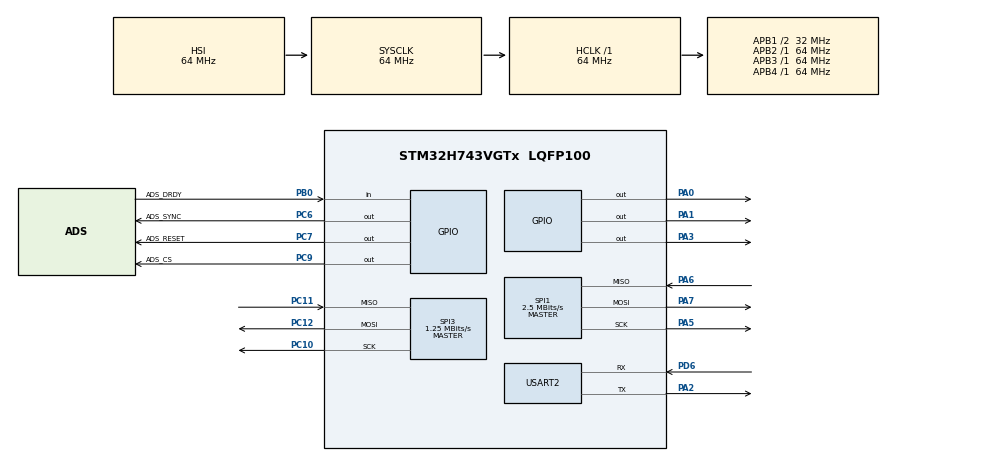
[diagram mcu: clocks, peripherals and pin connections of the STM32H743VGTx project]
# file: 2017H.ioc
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CORTEX_M7.default_mode_Activation=1
Mcu.Family=STM32H7
Mcu.Name=STM32H743VGTx
Mcu.Package=LQFP100
NVIC.PriorityGroup=NVIC_PRIORITYGROUP_4
NVIC.USART2_IRQn=true\:5\:0\:false\:false\:true\:true\:true\:true
PA0.PinState=GPIO_PIN_RESET
PA0.Signal=GPIO_Output
PA1.PinState=GPIO_PIN_SET
PA1.Signal=GPIO_Output
PA13\ (JTMS/SWDIO).Mode=Serial_Wire
PA13\ (JTMS/SWDIO).Signal=DEBUG_JTMS-SWDIO
PA14\ (JTCK/SWCLK).Mode=Serial_Wire
PA14\ (JTCK/SWCLK).Signal=DEBUG_JTCK-SWCLK
PA2.Mode=Asynchronous
PA2.Signal=USART2_TX
PA3.PinState=GPIO_PIN_RESET
PA3.Signal=GPIO_Output
PA5.Mode=Full_Duplex_Master
PA5.Signal=SPI1_SCK
PA6.Mode=Full_Duplex_Master
PA6.Signal=SPI1_MISO
PA7.Mode=Full_Duplex_Master
PA7.Signal=SPI1_MOSI
PB0.GPIO_Label=ADS_DRDY
PB0.GPIO_PuPd=GPIO_PULLUP
PB0.Signal=GPIO_Input
PC10.Mode=Full_Duplex_Master
PC10.Signal=SPI3_SCK
PC11.Mode=Full_Duplex_Master
PC11.Signal=SPI3_MISO
PC12.Mode=Full_Duplex_Master
PC12.Signal=SPI3_MOSI
PC7.GPIO_Label=ADS_RESET
PC7.PinState=GPIO_PIN_SET
PC7.Signal=GPIO_Output
PC6.GPIO_Label=ADS_SYNC
PC6.PinState=GPIO_PIN_SET
PC6.Signal=GPIO_Output
PC9.GPIO_Label=ADS_CS
PC9.PinState=GPIO_PIN_SET
PC9.Signal=GPIO_Output
PD6.Mode=Asynchronous
PD6.Signal=USART2_RX
ProjectManager.HeapSize=0x200
ProjectManager.StackSize=0x400
ProjectManager.TargetToolchain=CMake
RCC.ADCFreq_Value=129000000
RCC.APB1Freq_Value=32000000
RCC.APB2Freq_Value=64000000
RCC.APB3Freq_Value=64000000
RCC.APB4Freq_Value=64000000
RCC.CortexFreq_Value=64000000
RCC.D2PPRE1=RCC_APB1_DIV2
RCC.DIVM1=4
RCC.DIVN1=10
RCC.HCLKFreq_Value=64000000
RCC.PLLFRACN=0
RCC.SYSCLKFreq_VALUE=64000000
RCC.USBFreq_Value=80000000
SPI1.BaudRatePrescaler=SPI_BAUDRATEPRESCALER_32
SPI1.CalculateBaudRate=2.5 MBits/s
SPI1.DataSize=SPI_DATASIZE_8BIT
SPI1.Direction=SPI_DIRECTION_2LINES
SPI1.MasterKeepIOState=SPI_MASTER_KEEP_IO_STATE_ENABLE
SPI1.Mode=SPI_MODE_MASTER
SPI1.NSSPMode=SPI_NSS_PULSE_DISABLE
SPI1.VirtualType=VM_MASTER
SPI3.BaudRatePrescaler=SPI_BAUDRATEPRESCALER_64
SPI3.CLKPhase=SPI_PHASE_2EDGE
SPI3.CalculateBaudRate=1.25 MBits/s
SPI3.DataSize=SPI_DATASIZE_8BIT
SPI3.Direction=SPI_DIRECTION_2LINES
SPI3.MasterKeepIOState=SPI_MASTER_KEEP_IO_STATE_ENABLE
SPI3.Mode=SPI_MODE_MASTER
SPI3.NSSPMode=SPI_NSS_PULSE_DISABLE
SPI3.VirtualType=VM_MASTER
USART2.VirtualMode-Asynchronous=VM_ASYNC
VP_MEMORYMAP_VS_MEMORYMAP.Mode=CurAppReg
board=custom

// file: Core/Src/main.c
/* USER CODE BEGIN Header */
/**
  ******************************************************************************
  * @file           : main.c
  * @brief          : Main program body
  ******************************************************************************
  * @attention
  *
  * Copyright (c) 2026 STMicroelectronics.
  * All rights reserved.
  *
  * This software is licensed under terms that can be found in the LICENSE file
  * in the root directory of this software component.
  * If no LICENSE file comes with this software, it is provided AS-IS.
  *
  ******************************************************************************
  */
/* USER CODE END Header */
#include "main.h"

/* USER CODE BEGIN Includes */
#include "dds_console.h"
#include "adc_console.h"
#ifdef ENABLE_DRDY_DIAG
#include "drdy_diag.h"
#endif
#ifdef ENABLE_AUTO_SWEEP
#include "auto_sweep.h"
#endif

/* USER CODE END Includes */

SPI_HandleTypeDef hspi1;
SPI_HandleTypeDef hspi3;

UART_HandleTypeDef huart2;

void SystemClock_Config(void);
static void MPU_Config(void);
static void MX_GPIO_Init(void);
static void MX_SPI1_Init(void);
static void MX_SPI3_Init(void);
static void MX_USART2_UART_Init(void);

int main(void)
{

  /* MPU Configuration--------------------------------------------------------*/
  MPU_Config();

  /* MCU Configuration--------------------------------------------------------*/

  /* Reset of all peripherals, Initializes the Flash interface and the Systick. */
  HAL_Init();

  /* Configure the system clock */
  SystemClock_Config();

  /* Initialize all configured peripherals */
  MX_GPIO_Init();
  MX_SPI1_Init();
  MX_SPI3_Init();
  MX_USART2_UART_Init();
  /* USER CODE BEGIN 2 */
#ifdef ENABLE_AUTO_SWEEP
  AutoSweep_Run(&hspi1, &hspi3);
#else
  DDS_Console_Init(&hspi1, &huart2);
  ADC_Console_Init(&hspi3, &huart2);
#endif
#ifdef ENABLE_DRDY_DIAG
  DRDY_Diag_Start();
#endif
  /* USER CODE END 2 */

  /* Infinite loop */
  while (1)
  {

    /* USER CODE BEGIN 3 */
#ifdef ENABLE_AUTO_SWEEP
    __NOP();
#else
    DDS_Console_Process();
    ADC_Console_Process();
#endif
  }
  /* USER CODE END 3 */
}

void SystemClock_Config(void)
{
  RCC_OscInitTypeDef RCC_OscInitStruct = {0};
  RCC_ClkInitTypeDef RCC_ClkInitStruct = {0};

  /** Supply configuration update enable
  */
  HAL_PWREx_ConfigSupply(PWR_LDO_SUPPLY);

  /** Configure the main internal regulator output voltage
  */
  __HAL_PWR_VOLTAGESCALING_CONFIG(PWR_REGULATOR_VOLTAGE_SCALE3);

  while(!__HAL_PWR_GET_FLAG(PWR_FLAG_VOSRDY)) {}

  /** Initializes the RCC Oscillators according to the specified parameters
  * in the RCC_OscInitTypeDef structure.
  */
  RCC_OscInitStruct.OscillatorType = RCC_OSCILLATORTYPE_HSI;
  RCC_OscInitStruct.HSIState = RCC_HSI_DIV1;
  RCC_OscInitStruct.HSICalibrationValue = RCC_HSICALIBRATION_DEFAULT;
  RCC_OscInitStruct.PLL.PLLState = RCC_PLL_ON;
  RCC_OscInitStruct.PLL.PLLSource = RCC_PLLSOURCE_HSI;
  RCC_OscInitStruct.PLL.PLLM = 4;
  RCC_OscInitStruct.PLL.PLLN = 10;
  RCC_OscInitStruct.PLL.PLLP = 2;
  RCC_OscInitStruct.PLL.PLLQ = 2;
  RCC_OscInitStruct.PLL.PLLR = 2;
  RCC_OscInitStruct.PLL.PLLRGE = RCC_PLL1VCIRANGE_3;
  RCC_OscInitStruct.PLL.PLLVCOSEL = RCC_PLL1VCOMEDIUM;
  RCC_OscInitStruct.PLL.PLLFRACN = 0;
  if (HAL_RCC_OscConfig(&RCC_OscInitStruct) != HAL_OK)
  {
    Error_Handler();
  }

  /** Initializes the CPU, AHB and APB buses clocks
  */
  RCC_ClkInitStruct.ClockType = RCC_CLOCKTYPE_HCLK|RCC_CLOCKTYPE_SYSCLK
                              |RCC_CLOCKTYPE_PCLK1|RCC_CLOCKTYPE_PCLK2
                              |RCC_CLOCKTYPE_D3PCLK1|RCC_CLOCKTYPE_D1PCLK1;
  RCC_ClkInitStruct.SYSCLKSource = RCC_SYSCLKSOURCE_HSI;
  RCC_ClkInitStruct.SYSCLKDivider = RCC_SYSCLK_DIV1;
  RCC_ClkInitStruct.AHBCLKDivider = RCC_HCLK_DIV1;
  RCC_ClkInitStruct.APB3CLKDivider = RCC_APB3_DIV1;
  RCC_ClkInitStruct.APB1CLKDivider = RCC_APB1_DIV2;
  RCC_ClkInitStruct.APB2CLKDivider = RCC_APB2_DIV1;
  RCC_ClkInitStruct.APB4CLKDivider = RCC_APB4_DIV1;

  if (HAL_RCC_ClockConfig(&RCC_ClkInitStruct, FLASH_LATENCY_1) != HAL_OK)
  {
    Error_Handler();
  }
}

static void MX_SPI1_Init(void)
{

  /* SPI1 parameter configuration*/
  hspi1.Instance = SPI1;
  hspi1.Init.Mode = SPI_MODE_MASTER;
  hspi1.Init.Direction = SPI_DIRECTION_2LINES;
  hspi1.Init.DataSize = SPI_DATASIZE_8BIT;
  hspi1.Init.CLKPolarity = SPI_POLARITY_LOW;
  hspi1.Init.CLKPhase = SPI_PHASE_1EDGE;
  hspi1.Init.NSS = SPI_NSS_SOFT;
  hspi1.Init.BaudRatePrescaler = SPI_BAUDRATEPRESCALER_32;
  hspi1.Init.FirstBit = SPI_FIRSTBIT_MSB;
  hspi1.Init.TIMode = SPI_TIMODE_DISABLE;
  hspi1.Init.CRCCalculation = SPI_CRCCALCULATION_DISABLE;
  hspi1.Init.CRCPolynomial = 0x0;
  hspi1.Init.NSSPMode = SPI_NSS_PULSE_DISABLE;
  hspi1.Init.NSSPolarity = SPI_NSS_POLARITY_LOW;
  hspi1.Init.FifoThreshold = SPI_FIFO_THRESHOLD_01DATA;
  hspi1.Init.TxCRCInitializationPattern = SPI_CRC_INITIALIZATION_ALL_ZERO_PATTERN;
  hspi1.Init.RxCRCInitializationPattern = SPI_CRC_INITIALIZATION_ALL_ZERO_PATTERN;
  hspi1.Init.MasterSSIdleness = SPI_MASTER_SS_IDLENESS_00CYCLE;
  hspi1.Init.MasterInterDataIdleness = SPI_MASTER_INTERDATA_IDLENESS_00CYCLE;
  hspi1.Init.MasterReceiverAutoSusp = SPI_MASTER_RX_AUTOSUSP_DISABLE;
  hspi1.Init.MasterKeepIOState = SPI_MASTER_KEEP_IO_STATE_ENABLE;
  hspi1.Init.IOSwap = SPI_IO_SWAP_DISABLE;
  if (HAL_SPI_Init(&hspi1) != HAL_OK)
  {
    Error_Handler();
  }

}

static void MX_SPI3_Init(void)
{

  /* SPI3 parameter configuration*/
  hspi3.Instance = SPI3;
  hspi3.Init.Mode = SPI_MODE_MASTER;
  hspi3.Init.Direction = SPI_DIRECTION_2LINES;
  hspi3.Init.DataSize = SPI_DATASIZE_8BIT;
  hspi3.Init.CLKPolarity = SPI_POLARITY_LOW;
  hspi3.Init.CLKPhase = SPI_PHASE_2EDGE;
  hspi3.Init.NSS = SPI_NSS_SOFT;
  hspi3.Init.BaudRatePrescaler = SPI_BAUDRATEPRESCALER_64;
  hspi3.Init.FirstBit = SPI_FIRSTBIT_MSB;
  hspi3.Init.TIMode = SPI_TIMODE_DISABLE;
  hspi3.Init.CRCCalculation = SPI_CRCCALCULATION_DISABLE;
  hspi3.Init.CRCPolynomial = 0x0;
  hspi3.Init.NSSPMode = SPI_NSS_PULSE_DISABLE;
  hspi3.Init.NSSPolarity = SPI_NSS_POLARITY_LOW;
  hspi3.Init.FifoThreshold = SPI_FIFO_THRESHOLD_01DATA;
  hspi3.Init.TxCRCInitializationPattern = SPI_CRC_INITIALIZATION_ALL_ZERO_PATTERN;
  hspi3.Init.RxCRCInitializationPattern = SPI_CRC_INITIALIZATION_ALL_ZERO_PATTERN;
  hspi3.Init.MasterSSIdleness = SPI_MASTER_SS_IDLENESS_00CYCLE;
  hspi3.Init.MasterInterDataIdleness = SPI_MASTER_INTERDATA_IDLENESS_00CYCLE;
  hspi3.Init.MasterReceiverAutoSusp = SPI_MASTER_RX_AUTOSUSP_DISABLE;
  hspi3.Init.MasterKeepIOState = SPI_MASTER_KEEP_IO_STATE_ENABLE;
  hspi3.Init.IOSwap = SPI_IO_SWAP_DISABLE;
  if (HAL_SPI_Init(&hspi3) != HAL_OK)
  {
    Error_Handler();
  }

}

static void MX_USART2_UART_Init(void)
{

  huart2.Instance = USART2;
  huart2.Init.BaudRate = 115200;
  huart2.Init.WordLength = UART_WORDLENGTH_8B;
  huart2.Init.StopBits = UART_STOPBITS_1;
  huart2.Init.Parity = UART_PARITY_NONE;
  huart2.Init.Mode = UART_MODE_TX_RX;
  huart2.Init.HwFlowCtl = UART_HWCONTROL_NONE;
  huart2.Init.OverSampling = UART_OVERSAMPLING_16;
  huart2.Init.OneBitSampling = UART_ONE_BIT_SAMPLE_DISABLE;
  huart2.Init.ClockPrescaler = UART_PRESCALER_DIV1;
  huart2.AdvancedInit.AdvFeatureInit = UART_ADVFEATURE_NO_INIT;
  if (HAL_UART_Init(&huart2) != HAL_OK)
  {
    Error_Handler();
  }
  if (HAL_UARTEx_SetTxFifoThreshold(&huart2, UART_TXFIFO_THRESHOLD_1_8) != HAL_OK)
  {
    Error_Handler();
  }
  if (HAL_UARTEx_SetRxFifoThreshold(&huart2, UART_RXFIFO_THRESHOLD_1_8) != HAL_OK)
  {
    Error_Handler();
  }
  if (HAL_UARTEx_DisableFifoMode(&huart2) != HAL_OK)
  {
    Error_Handler();
  }

}

static void MX_GPIO_Init(void)
{
  GPIO_InitTypeDef GPIO_InitStruct = {0};

  /* GPIO Ports Clock Enable */
  __HAL_RCC_GPIOC_CLK_ENABLE();
  __HAL_RCC_GPIOA_CLK_ENABLE();
  __HAL_RCC_GPIOB_CLK_ENABLE();
  __HAL_RCC_GPIOD_CLK_ENABLE();

  /*Configure GPIO pin Output Level */
  HAL_GPIO_WritePin(GPIOC, ADS_RESET_Pin|ADS_SYNC_Pin|ADS_CS_Pin, GPIO_PIN_SET);

  /*Configure GPIO pin Output Level */
  HAL_GPIO_WritePin(GPIOA, GPIO_PIN_0|GPIO_PIN_3, GPIO_PIN_RESET);

  /*Configure GPIO pin Output Level */
  HAL_GPIO_WritePin(GPIOA, GPIO_PIN_1, GPIO_PIN_SET);

  /*Configure GPIO pins : ADS_RESET_Pin ADS_SYNC_Pin ADS_CS_Pin */
  GPIO_InitStruct.Pin = ADS_RESET_Pin|ADS_SYNC_Pin|ADS_CS_Pin;
  GPIO_InitStruct.Mode = GPIO_MODE_OUTPUT_PP;
  GPIO_InitStruct.Pull = GPIO_NOPULL;
  GPIO_InitStruct.Speed = GPIO_SPEED_FREQ_LOW;
  HAL_GPIO_Init(GPIOC, &GPIO_InitStruct);

  /*Configure GPIO pins : PA0 PA1 PA3 */
  GPIO_InitStruct.Pin = GPIO_PIN_0|GPIO_PIN_1|GPIO_PIN_3;
  GPIO_InitStruct.Mode = GPIO_MODE_OUTPUT_PP;
  GPIO_InitStruct.Pull = GPIO_NOPULL;
  GPIO_InitStruct.Speed = GPIO_SPEED_FREQ_LOW;
  HAL_GPIO_Init(GPIOA, &GPIO_InitStruct);

  /*Configure GPIO pin : ADS_DRDY_Pin */
  GPIO_InitStruct.Pin = ADS_DRDY_Pin;
  GPIO_InitStruct.Mode = GPIO_MODE_INPUT;
  GPIO_InitStruct.Pull = GPIO_PULLUP;
  HAL_GPIO_Init(ADS_DRDY_GPIO_Port, &GPIO_InitStruct);

  /*AnalogSwitch Config */
  HAL_SYSCFG_AnalogSwitchConfig(SYSCFG_SWITCH_PA0, SYSCFG_SWITCH_PA0_CLOSE);

  /*AnalogSwitch Config */
  HAL_SYSCFG_AnalogSwitchConfig(SYSCFG_SWITCH_PA1, SYSCFG_SWITCH_PA1_CLOSE);

}

 /* MPU Configuration */

void MPU_Config(void)
{
  MPU_Region_InitTypeDef MPU_InitStruct = {0};

  /* Disables the MPU */
  HAL_MPU_Disable();

  /** Initializes and configures the Region and the memory to be protected
  */
  MPU_InitStruct.Enable = MPU_REGION_ENABLE;
  MPU_InitStruct.Number = MPU_REGION_NUMBER0;
  MPU_InitStruct.BaseAddress = 0x0;
  MPU_InitStruct.Size = MPU_REGION_SIZE_4GB;
  MPU_InitStruct.SubRegionDisable = 0x87;
  MPU_InitStruct.TypeExtField = MPU_TEX_LEVEL0;
  MPU_InitStruct.AccessPermission = MPU_REGION_NO_ACCESS;
  MPU_InitStruct.DisableExec = MPU_INSTRUCTION_ACCESS_DISABLE;
  MPU_InitStruct.IsShareable = MPU_ACCESS_SHAREABLE;
  MPU_InitStruct.IsCacheable = MPU_ACCESS_NOT_CACHEABLE;
  MPU_InitStruct.IsBufferable = MPU_ACCESS_NOT_BUFFERABLE;

  HAL_MPU_ConfigRegion(&MPU_InitStruct);
  /* Enables the MPU */
  HAL_MPU_Enable(MPU_PRIVILEGED_DEFAULT);

}

void Error_Handler(void)
{
  __disable_irq();
  while (1)
  {
  }
}
